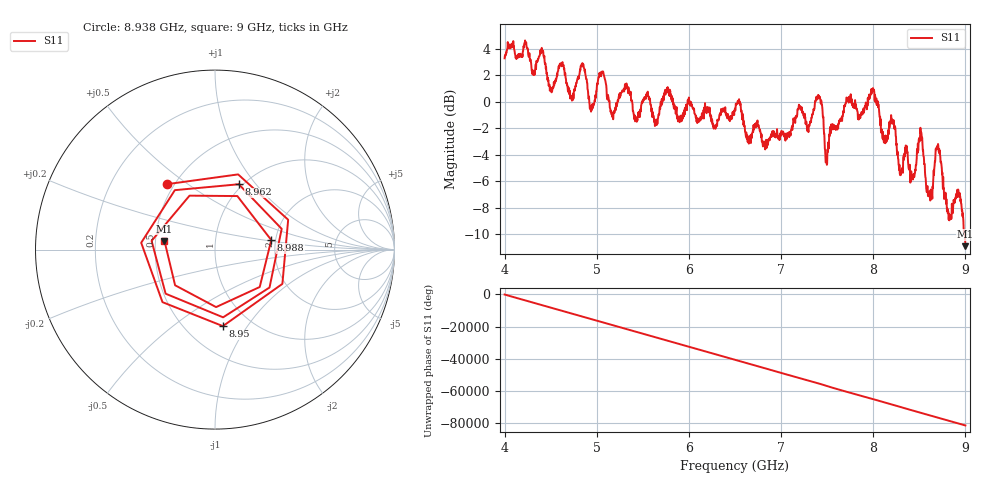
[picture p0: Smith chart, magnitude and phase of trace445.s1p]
! Created with skrf 1.8.0 (http://scikit-rf.org).
# Hz S RI R 50.0
!freq ReS11 ImS11
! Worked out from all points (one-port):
!   1601 points, 4 GHz to 9 GHz, reference 50 ohm
!   lowest |S11| = -10.9 dB at 9 GHz (marker M1), VSWR 1.80, Z = 27.9 + j2.91 ohm
!   |S11| at or under -10 dB: 8.994544 GHz to end of sweep
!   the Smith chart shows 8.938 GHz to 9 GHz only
!   S11 on the Smith chart (normalised r, x): 8.938 GHz: 0.46, +0.42; 8.95 GHz: 0.74, -0.78; 8.962 GHz: 0.96, +0.82; 8.988 GHz: 1.90, +0.22; 9 GHz: 0.56, +0.06
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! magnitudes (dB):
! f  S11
! 4 GHz  3.3
! 4.506 GHz  0.8
! 4.625 GHz  2.9
! 4.728 GHz  0.2
! 4.85 GHz  2.7
! 4.944 GHz  -0.5
! 5.05 GHz  2.3
! 5.166 GHz  -1.0
! 5.25 GHz  0.3
! 5.875 GHz  -1.3
! 6.5 GHz  -0.5
! 6.822 GHz  -3.0
! 7.125 GHz  -1.8
! 7.403 GHz  0.5
! 7.497 GHz  -4.7
! 7.75 GHz  0.3
! 7.997 GHz  1.0
! 8.375 GHz  -4.2
! 8.428 GHz  -5.7
! 8.516 GHz  -2.4
! 8.616 GHz  -7.1
! 8.703 GHz  -3.2
! 8.825 GHz  -8.9
! 8.938 GHz  -6.9
! 8.95 GHz  -7.4
! 8.962 GHz  -8.2
! 8.988 GHz  -10.0
! 9 GHz  -10.9
